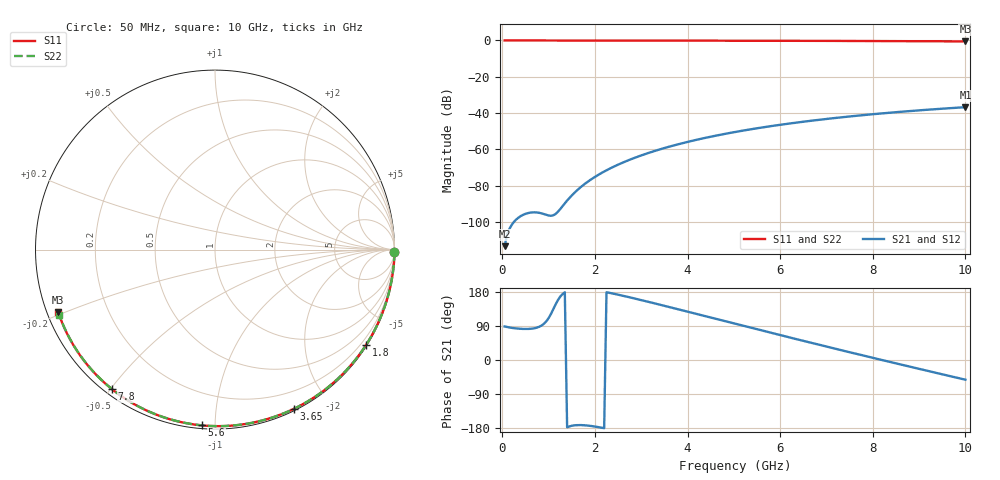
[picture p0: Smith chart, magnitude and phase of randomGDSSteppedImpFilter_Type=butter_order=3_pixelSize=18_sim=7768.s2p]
! freq	dB(S11)	phase(S11)	dB(S12)	phase(S12)
!  dB(S21)	phase(S21)	dB(S22)	phase(S22)
!S-par simulation data
#  GHz  S  DB  R 50
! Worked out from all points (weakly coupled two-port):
!   200 points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, 50 MHz to 10 GHz, reference 50 ohm
!   highest |S21| = -36.74 dB at 10 GHz (marker M1); lowest = -113.2 dB at 50 MHz (marker M2)
!   lowest |S11| = -0.5 dB at 10 GHz (marker M3), VSWR 32.68, Z = 1.59 - j9.61 ohm
!   |S11| at or under -10 dB: nowhere
!   |S22| runs from -0.5 to 0.0 dB; largest |S21 - S12| = 0
!   S11 on the Smith chart (normalised r, x): 50 MHz: open; 1.8 GHz: 0.03, -3.45; 3.65 GHz: 0.02, -1.61; 5.6 GHz: 0.02, -0.93; 7.8 GHz: 0.02, -0.50; 10 GHz: 0.03, -0.19
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0.05  -0.00 -0.9  -113.25 88.5  -113.25 88.5  -0.00 -0.9
0.45  -0.01 -8.2  -95.99 82.0  -95.99 82.0  -0.01 -8.1
0.9  -0.02 -16.3  -95.57 95.7  -95.57 95.7  -0.02 -16.1
1.7  -0.04 -30.5  -80.61 -171.8  -80.61 -171.8  -0.04 -30.2
1.75  -0.04 -31.4  -79.58 -172.1  -79.58 -172.1  -0.04 -31.1
1.8  -0.04 -32.3  -78.61 -172.5  -78.61 -172.5  -0.04 -31.9
2.1  -0.05 -37.5  -73.58 -177.6  -73.58 -177.6  -0.05 -37.1
2.3  -0.05 -41.0  -70.81 177.6  -70.81 177.6  -0.05 -40.5
2.5  -0.06 -44.4  -68.37 172.4  -68.37 172.4  -0.06 -44.0
2.9  -0.07 -51.2  -64.21 161.1  -64.21 161.1  -0.07 -50.7
3.4  -0.08 -59.6  -59.98 146.1  -59.98 146.1  -0.08 -59.0
3.65  -0.09 -63.7  -58.15 138.4  -58.15 138.4  -0.09 -63.1
4.3  -0.11 -74.2  -54.08 118.3  -54.08 118.3  -0.10 -73.5
5.05  -0.13 -86.0  -50.28 95.0  -50.28 95.0  -0.13 -85.1
5.6  -0.16 -94.3  -47.94 78.0  -47.94 78.0  -0.16 -93.5
6.15  -0.18 -102.6  -45.90 61.2  -45.90 61.2  -0.18 -101.7
6.7  -0.22 -110.6  -44.10 44.5  -44.10 44.5  -0.21 -109.7
7.25  -0.25 -118.6  -42.50 28.0  -42.50 28.0  -0.25 -117.6
7.8  -0.30 -126.5  -41.08 11.6  -41.08 11.6  -0.29 -125.5
8.35  -0.35 -134.3  -39.81 -4.5  -39.81 -4.5  -0.34 -133.3
9.2  -0.43 -146.5  -38.10 -29.1  -38.10 -29.1  -0.43 -145.5
10  -0.53 -158.2  -36.74 -52.0  -36.74 -52.0  -0.53 -157.1
